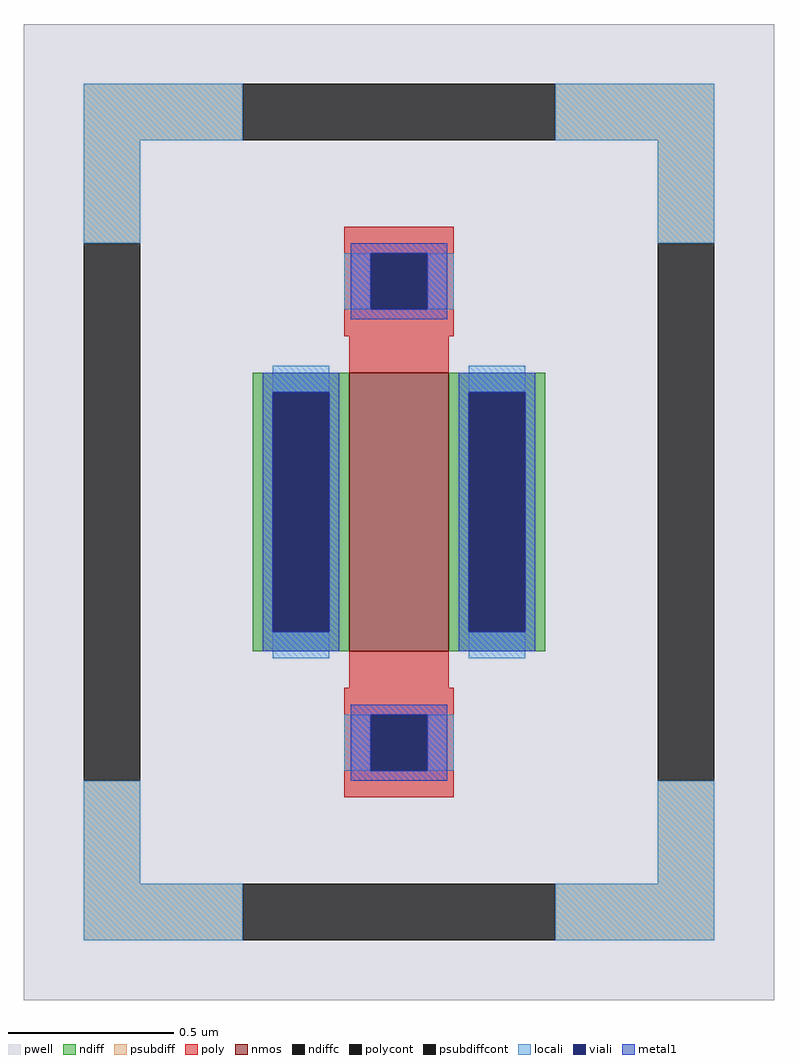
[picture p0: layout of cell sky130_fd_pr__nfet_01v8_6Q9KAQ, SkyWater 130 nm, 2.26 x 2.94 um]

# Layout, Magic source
magic
tech sky130A
magscale 1 2
<< pwell >>
rect -226 -294 226 294
<< nmos >>
rect -30 -84 30 84
<< ndiff >>
rect -88 72 -30 84
rect -88 -72 -76 72
rect -42 -72 -30 72
rect -88 -84 -30 -72
rect 30 72 88 84
rect 30 -72 42 72
rect 76 -72 88 72
rect 30 -84 88 -72
<< ndiffc >>
rect -76 -72 -42 72
rect 42 -72 76 72
<< psubdiff >>
rect -190 224 -94 258
rect 94 224 190 258
rect -190 162 -156 224
rect 156 162 190 224
rect -190 -224 -156 -162
rect 156 -224 190 -162
rect -190 -258 -94 -224
rect 94 -258 190 -224
<< psubdiffcont >>
rect -94 224 94 258
rect -190 -162 -156 162
rect 156 -162 190 162
rect -94 -258 94 -224
<< poly >>
rect -33 156 33 172
rect -33 122 -17 156
rect 17 122 33 156
rect -33 106 33 122
rect -30 84 30 106
rect -30 -106 30 -84
rect -33 -122 33 -106
rect -33 -156 -17 -122
rect 17 -156 33 -122
rect -33 -172 33 -156
<< polycont >>
rect -17 122 17 156
rect -17 -156 17 -122
<< locali >>
rect -190 224 -94 258
rect 94 224 190 258
rect -190 162 -156 224
rect 156 162 190 224
rect -33 122 -17 156
rect 17 122 33 156
rect -76 72 -42 88
rect -76 -88 -42 -72
rect 42 72 76 88
rect 42 -88 76 -72
rect -33 -156 -17 -122
rect 17 -156 33 -122
rect -190 -224 -156 -162
rect 156 -224 190 -162
rect -190 -258 -94 -224
rect 94 -258 190 -224
<< viali >>
rect -17 122 17 156
rect -76 -72 -42 72
rect 42 -72 76 72
rect -17 -156 17 -122
<< metal1 >>
rect -29 156 29 162
rect -29 122 -17 156
rect 17 122 29 156
rect -29 116 29 122
rect -82 72 -36 84
rect -82 -72 -76 72
rect -42 -72 -36 72
rect -82 -84 -36 -72
rect 36 72 82 84
rect 36 -72 42 72
rect 76 -72 82 72
rect 36 -84 82 -72
rect -29 -122 29 -116
rect -29 -156 -17 -122
rect 17 -156 29 -122
rect -29 -162 29 -156
<< properties >>
string FIXED_BBOX -173 -241 173 241
string gencell sky130_fd_pr__nfet_01v8
string library sky130
string parameters w 0.84 l 0.3 m 1 nf 1 diffcov 100 polycov 100 guard 1 glc 1 grc 1 gtc 1 gbc 1 tbcov 100 rlcov 100 topc 1 botc 1 poverlap 0 doverlap 1 lmin 0.15 wmin 0.42 compatible {sky130_fd_pr__nfet_01v8 sky130_fd_pr__nfet_01v8_lvt  sky130_fd_bs_flash__special_sonosfet_star  sky130_fd_pr__nfet_g5v0d10v5 sky130_fd_pr__nfet_05v0_nvt  sky130_fd_pr__nfet_03v3_nvt} full_metal 1 viasrc 100 viadrn 100 viagate 100 viagb 0 viagr 0 viagl 0 viagt 0
<< end >>
